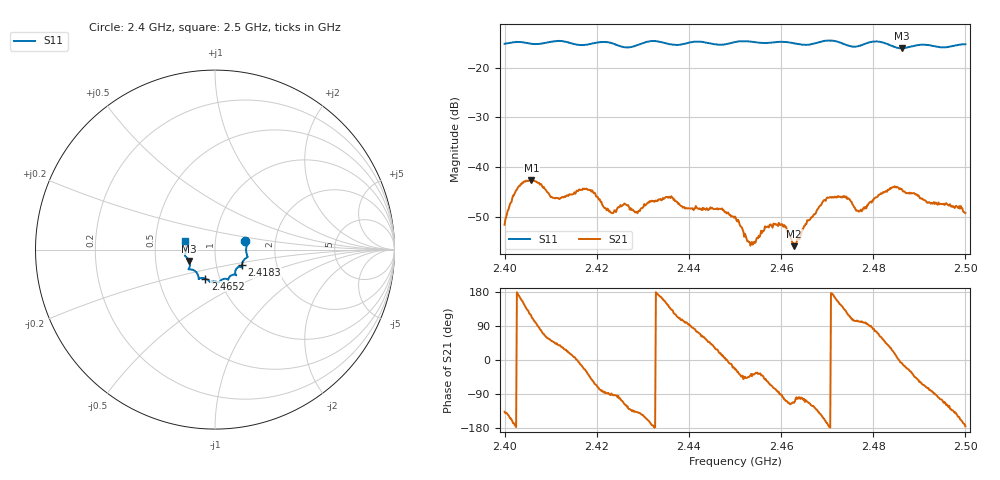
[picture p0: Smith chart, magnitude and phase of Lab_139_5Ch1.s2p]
# Hz S RI R 50
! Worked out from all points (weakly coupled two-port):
!   601 points, 2.4 GHz to 2.5 GHz, reference 50 ohm
!   highest |S21| = -42.65 dB at 2.4058 GHz (marker M1); lowest = -56.0 dB at 2.4628 GHz (marker M2)
!   lowest |S11| = -16.1 dB at 2.4862 GHz (marker M3), VSWR 1.37, Z = 37.2 - j4.88 ohm
!   |S11| at or under -10 dB: start of sweep to end of sweep
!   S12 and S22 are empty: the file has one direction only
!   S11 on the Smith chart (normalised r, x): 2.4 GHz: 1.40, +0.13; 2.4183 GHz: 1.33, -0.24; 2.4652 GHz: 0.85, -0.28; 2.5 GHz: 0.71, +0.07
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2.4e9  0.1678 0.0466  -0.0019 -0.00179  0 0  0 0
2.402667e9  0.1786 0.034  -0.00589 0.000127  0 0  0 0
2.405833e9  0.1739 0.0111  -0.00305 0.00671  0 0  0 0
2.410833e9  0.1811 -0.0379  0.00335 0.0035  0 0  0 0
2.416667e9  0.1548 -0.068  0.00571 -0.00141  0 0  0 0
2.418333e9  0.1497 -0.0861  0.0044 -0.00392  0 0  0 0
2.423167e9  0.1486 -0.0972  9.55e-05 -0.00345  0 0  0 0
2.426167e9  0.1247 -0.1012  -0.00199 -0.0037  0 0  0 0
2.428833e9  0.1122 -0.1267  -0.00255 -0.00228  0 0  0 0
2.433333e9  0.1172 -0.1414  -0.00466 0.000655  0 0  0 0
2.45e9  0.0258 -0.1797  0.00286 -0.00133  0 0  0 0
2.453333e9  0.0172 -0.1826  0.00122 -0.00105  0 0  0 0
2.459167e9  -0.0237 -0.1802  0.000392 -0.00257  0 0  0 0
2.462833e9  -0.0353 -0.1727  -0.000619 -0.00146  0 0  0 0
2.465167e9  -0.0543 -0.1613  -0.000904 -0.00239  0 0  0 0
2.466667e9  -0.0707 -0.1577  -0.00158 -0.00269  0 0  0 0
2.470333e9  -0.0913 -0.1645  -0.00485 -0.000554  0 0  0 0
2.474e9  -0.095 -0.1419  -0.00319 0.00374  0 0  0 0
2.477e9  -0.121 -0.1137  -0.000698 0.0035  0 0  0 0
2.483333e9  -0.1413 -0.0968  0.00467 0.00355  0 0  0 0
2.486167e9  -0.1433 -0.064  0.00595 -0.000773  0 0  0 0
2.5e9  -0.1658 0.0474  -0.00342 -0.000283  0 0  0 0
